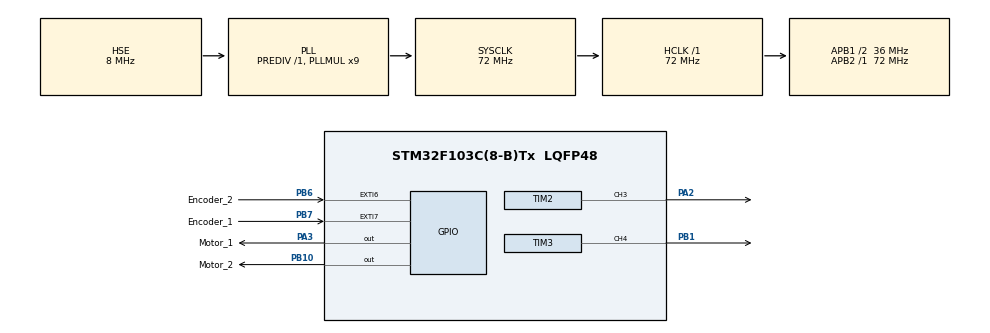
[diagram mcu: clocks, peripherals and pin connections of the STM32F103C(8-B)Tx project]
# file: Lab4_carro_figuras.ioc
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Mcu.Family=STM32F1
Mcu.Name=STM32F103C(8-B)Tx
Mcu.Package=LQFP48
NVIC.EXTI9_5_IRQn=true\:0\:0\:false\:false\:true\:true\:true\:true
NVIC.PriorityGroup=NVIC_PRIORITYGROUP_4
PA2.Signal=S_TIM2_CH3
PA3.GPIO_Label=Motor_1
PA3.Signal=GPIO_Output
PB1.Signal=S_TIM3_CH4
PB10.GPIO_Label=Motor_2
PB10.Signal=GPIO_Output
PB6.GPIO_Label=Encoder_2
PB6.Signal=GPXTI6
PB7.GPIO_Label=Encoder_1
PB7.Signal=GPXTI7
PD0-OSC_IN.Mode=HSE-External-Oscillator
PD0-OSC_IN.Signal=RCC_OSC_IN
PD1-OSC_OUT.Mode=HSE-External-Oscillator
PD1-OSC_OUT.Signal=RCC_OSC_OUT
ProjectManager.HeapSize=0x200
ProjectManager.StackSize=0x400
ProjectManager.TargetToolchain=STM32CubeIDE
RCC.AHBFreq_Value=72000000
RCC.APB1CLKDivider=RCC_HCLK_DIV2
RCC.APB1Freq_Value=36000000
RCC.APB1TimFreq_Value=72000000
RCC.APB2Freq_Value=72000000
RCC.APB2TimFreq_Value=72000000
RCC.HCLKFreq_Value=72000000
RCC.PLLMUL=RCC_PLL_MUL9
RCC.PLLSourceVirtual=RCC_PLLSOURCE_HSE
RCC.SYSCLKFreq_VALUE=72000000
RCC.SYSCLKSource=RCC_SYSCLKSOURCE_PLLCLK
RCC.USBFreq_Value=72000000
SH.S_TIM2_CH3.0=TIM2_CH3,PWM Generation3 CH3
SH.S_TIM3_CH4.0=TIM3_CH4,PWM Generation4 CH4
TIM2.Channel-PWM\ Generation3\ CH3=TIM_CHANNEL_3
TIM2.Period=33332
TIM2.Prescaler=71
TIM3.Channel-PWM\ Generation4\ CH4=TIM_CHANNEL_4
TIM3.Period=33332
TIM3.Prescaler=71
VP_SYS_VS_ND.Mode=No_Debug
board=custom

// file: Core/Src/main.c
/* USER CODE BEGIN Header */
/**
  ******************************************************************************
  * @file           : main.c
  * @brief          : Main program body
  ******************************************************************************
  * @attention
  *
  * Copyright (c) 2026 STMicroelectronics.
  * All rights reserved.
  *
  * This software is licensed under terms that can be found in the LICENSE file
  * in the root directory of this software component.
  * If no LICENSE file comes with this software, it is provided AS-IS.
  *
  ******************************************************************************
  */
/* USER CODE END Header */
#include "main.h"
#include "tim.h"
#include "gpio.h"

/* USER CODE BEGIN Includes */
#include <stdint.h>
/* USER CODE END Includes */

/* USER CODE BEGIN PD */
#define PI                3.14159265f
#define llanta_cm         6.5f      /* diametro de la llanta                         */
#define SIDE_CM           50.0f     /* longitud de cada lado                         */
#define TRACK_CM          14.0f     /* distancia entre centros de las dos llantas    */
#define ENCO_CONT         22.7f
#define COUNTS_PER_CM     (ENCO_CONT / (PI * llanta_cm))

#define M1_TRIM           1.0f
#define M2_TRIM           1.60f

#define BASE_SPEED        90.0f     /* % de PWM al avanzar                           */
#define TURN_SPEED        90.0f     /* % de PWM al girar                             */
#define MIN_PWM           35.0f
#define KP                6.0f      /* ganancia P: % de PWM por cuenta de diferencia */
#define MOVE_TIMEOUT_MS   8000U    /* seguridad si un encoder falla                 */
#define SETTLE_MS         80U      /* pausa para que el robot se detenga            */

#define TURN_CAL          (3.7f*90.0f/87.0f)      /* factor de calibracion del giro (ajustar)      */
#define TURN_RAMP         8.0f
#define RAMP_END_PWM      45.0f     /* PWM al final del frenado (no baja de aqui)     */
#define TURN_PRE_MS       150U      /* espera ANTES de girar: el carro arranca parado */
#define TURN_EXTRA_MS     50U
#define PAUSE_FIGURE_MS   2000U     /* espera entre figuras distintas                */

#define ENC_DEBOUNCE_US   1000U

/* Nivel del pin de direccion que hace girar cada motor "hacia adelante".
   Si una rueda gira al reves, cambia 1 por 0 en ese motor. */
#define M1_FWD_LEVEL      1
#define M2_FWD_LEVEL      1
/* USER CODE END PD */

/* USER CODE BEGIN PV */
uint8_t duty_pwm = 0;
uint8_t procentaje_pwm = 0;
volatile int32_t enc1 = 0;   /* pulsos del encoder 1 (PB7) */
volatile int32_t enc2 = 0;   /* pulsos del encoder 2 (PB6) */

static volatile uint32_t last_us1 = 0;
static volatile uint32_t last_us2 = 0;

/* USER CODE END PV */

void SystemClock_Config(void);

/* USER CODE BEGIN 0 */

/* Interrupcion de los encoders (flanco de subida) con antirrebote por tiempo */
void HAL_GPIO_EXTI_Callback(uint16_t GPIO_Pin)
{
  uint32_t now = DWT->CYCCNT / (SystemCoreClock / 1000000U);   /* microsegundos */

  if (GPIO_Pin == Encoder_1_Pin)
  {
    if ((uint32_t)(now - last_us1) >= ENC_DEBOUNCE_US)
    {
      last_us1 = now;
      __atomic_fetch_add(&enc1, 1, __ATOMIC_RELAXED);
    }
  }
  else if (GPIO_Pin == Encoder_2_Pin)
  {
    if ((uint32_t)(now - last_us2) >= ENC_DEBOUNCE_US)
    {
      last_us2 = now;
      __atomic_fetch_add(&enc2, 1, __ATOMIC_RELAXED);
    }
  }
}

static float clampf(float v, float lo, float hi)
{
  return (v < lo) ? lo : (v > hi) ? hi : v;
}

/* dir: +1 adelante, -1 atras. pct: 0..100 */
static void motor1_set(int8_t dir, float pct)
{
  uint32_t arr = __HAL_TIM_GET_AUTORELOAD(&htim2);
  GPIO_PinState lvl = (dir > 0) ? (GPIO_PinState)M1_FWD_LEVEL : (GPIO_PinState)!M1_FWD_LEVEL;
  HAL_GPIO_WritePin(Motor_1_GPIO_Port, Motor_1_Pin, lvl);
  __HAL_TIM_SET_COMPARE(&htim2, TIM_CHANNEL_3,
                        (uint32_t)(clampf(pct, 0.0f, 100.0f) * (arr + 1) / 100.0f));
}

static void motor2_set(int8_t dir, float pct)
{
  uint32_t arr = __HAL_TIM_GET_AUTORELOAD(&htim3);
  GPIO_PinState lvl = (dir > 0) ? (GPIO_PinState)M2_FWD_LEVEL : (GPIO_PinState)!M2_FWD_LEVEL;
  HAL_GPIO_WritePin(Motor_2_GPIO_Port, Motor_2_Pin, lvl);
  __HAL_TIM_SET_COMPARE(&htim3, TIM_CHANNEL_4,
                        (uint32_t)(clampf(pct, 0.0f, 100.0f) * (arr + 1) / 100.0f));
}

/* Mueve ambos motores hasta que cada encoder llegue a 'target' pulsos.
   Control P: iguala los pulsos de ambas ruedas para ir recto / girar simetrico.
   ramp > 0: en los ultimos 'ramp' pulsos la velocidad baja hasta RAMP_END_PWM. */
static void drive(int32_t target, int8_t d1, int8_t d2, float speed, float ramp)
{
  uint32_t t0 = HAL_GetTick();
  uint8_t done1 = 0, done2 = 0;

  enc1 = 0;
  enc2 = 0;

  while (!(done1 && done2))
  {
    int32_t e1 = enc1;
    int32_t e2 = enc2;
    if (e1 >= target) done1 = 1;
    if (e2 >= target) done2 = 1;

    float base = speed;
    if (ramp > 0.0f)
    {
      float rem = (float)target - 0.5f * (float)(e1 + e2);
      if (rem < ramp)
      {
        base = RAMP_END_PWM + (speed - RAMP_END_PWM) * clampf(rem / ramp, 0.0f, 1.0f);
      }
    }

    float err = (float)(e1 - e2);                 /* >0: la rueda 1 va adelantada */
    float s1 = clampf(base * M1_TRIM - KP * err, 0.0f, 100.0f);
    float s2 = clampf(base * M2_TRIM + KP * err, 0.0f, 100.0f);

    motor1_set(d1, done1 ? 0.0f : clampf(s1, MIN_PWM, 100.0f));
    motor2_set(d2, done2 ? 0.0f : clampf(s2, MIN_PWM, 100.0f));

    if ((HAL_GetTick() - t0) > MOVE_TIMEOUT_MS) break;   /* seguridad */
  }

  motor1_set(d1, 0.0f);
  motor2_set(d2, 0.0f);
  HAL_Delay(SETTLE_MS);
}

static void forward_cm(float cm)
{
  int32_t target = (int32_t)(cm * COUNTS_PER_CM + 0.5f);
  drive(target, +1, +1, BASE_SPEED, 0.0f);
}

/* Giro sobre su eje: una rueda adelante y la otra atras (grados > 0 = izquierda).
   Mismo ordenamiento en todos los giros: espera, giro con frenado, espera. */
static void turn_deg(float deg)
{
  float arc_cm = (TRACK_CM / 2.0f) * (deg * PI / 180.0f) * TURN_CAL;
  int32_t target = (int32_t)(arc_cm * COUNTS_PER_CM + 0.5f);

  HAL_Delay(TURN_PRE_MS);                                /* arranca siempre parado */
  drive(target, -1, +1, TURN_SPEED, TURN_RAMP);
  HAL_Delay(TURN_EXTRA_MS);
}

/* Dibuja un poligono regular de 'sides' lados */
static void polygon(uint8_t sides)
{
  for (uint8_t i = 0; i < sides; i++)
  {
    forward_cm(SIDE_CM);
    turn_deg(360.0f / sides);
  }
}

/* USER CODE END 0 */

int main(void)
{

  /* MCU Configuration--------------------------------------------------------*/

  /* Reset of all peripherals, Initializes the Flash interface and the Systick. */
  HAL_Init();

  /* Configure the system clock */
  SystemClock_Config();

  /* Initialize all configured peripherals */
  MX_GPIO_Init();
  MX_TIM2_Init();
  MX_TIM3_Init();
  /* USER CODE BEGIN 2 */

  CoreDebug->DEMCR |= CoreDebug_DEMCR_TRCENA_Msk;
    DWT->CYCCNT = 0;
    DWT->CTRL |= DWT_CTRL_CYCCNTENA_Msk;

  HAL_TIM_PWM_Start(&htim2, TIM_CHANNEL_3);
  HAL_TIM_PWM_Start(&htim3, TIM_CHANNEL_4);

  __HAL_TIM_SetCompare(&htim2, TIM_CHANNEL_3 , 0);
  __HAL_TIM_SetCompare(&htim3, TIM_CHANNEL_4 , 0);

  HAL_Delay(2000);

  for (uint8_t sides = 3; sides <= 6; sides++)    /* triangulo, cuadrado, pentagono, hexagono */
   {
     polygon(sides);
     if (sides < 6) HAL_Delay(PAUSE_FIGURE_MS);    /* espera entre figuras */
   }

  /* USER CODE END 2 */

  /* Infinite loop */
  while (1)
  {

  }
}

void SystemClock_Config(void)
{
  RCC_OscInitTypeDef RCC_OscInitStruct = {0};
  RCC_ClkInitTypeDef RCC_ClkInitStruct = {0};

  /** Initializes the RCC Oscillators according to the specified parameters
  * in the RCC_OscInitTypeDef structure.
  */
  RCC_OscInitStruct.OscillatorType = RCC_OSCILLATORTYPE_HSE;
  RCC_OscInitStruct.HSEState = RCC_HSE_ON;
  RCC_OscInitStruct.HSEPredivValue = RCC_HSE_PREDIV_DIV1;
  RCC_OscInitStruct.HSIState = RCC_HSI_ON;
  RCC_OscInitStruct.PLL.PLLState = RCC_PLL_ON;
  RCC_OscInitStruct.PLL.PLLSource = RCC_PLLSOURCE_HSE;
  RCC_OscInitStruct.PLL.PLLMUL = RCC_PLL_MUL9;
  if (HAL_RCC_OscConfig(&RCC_OscInitStruct) != HAL_OK)
  {
    Error_Handler();
  }

  /** Initializes the CPU, AHB and APB buses clocks
  */
  RCC_ClkInitStruct.ClockType = RCC_CLOCKTYPE_HCLK|RCC_CLOCKTYPE_SYSCLK
                              |RCC_CLOCKTYPE_PCLK1|RCC_CLOCKTYPE_PCLK2;
  RCC_ClkInitStruct.SYSCLKSource = RCC_SYSCLKSOURCE_PLLCLK;
  RCC_ClkInitStruct.AHBCLKDivider = RCC_SYSCLK_DIV1;
  RCC_ClkInitStruct.APB1CLKDivider = RCC_HCLK_DIV2;
  RCC_ClkInitStruct.APB2CLKDivider = RCC_HCLK_DIV1;

  if (HAL_RCC_ClockConfig(&RCC_ClkInitStruct, FLASH_LATENCY_2) != HAL_OK)
  {
    Error_Handler();
  }
}

void Error_Handler(void)
{
  __disable_irq();
  while (1)
  {
  }
}
